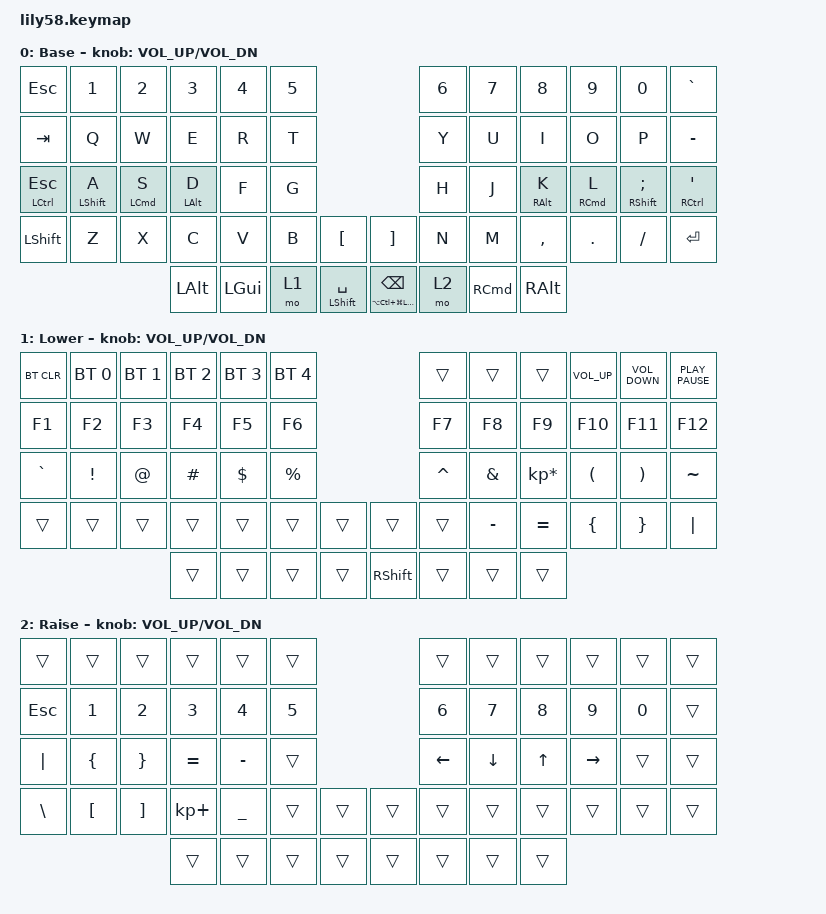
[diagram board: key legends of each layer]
/*
 * Copyright (c) 2020 The ZMK Contributors
 *
 * SPDX-License-Identifier: MIT
 */

#include <behaviors.dtsi>
#include <dt-bindings/zmk/bt.h>
#include <dt-bindings/zmk/keys.h>

&mt { flavor = "tap-preferred"; };

/ {
    keymap {
        compatible = "zmk,keymap";

        default_layer {
            // ------------------------------------------------------------------------------------------------------------
            // |  ESC  |  1  |  2  |  3   |  4   |  5   |                   |  6   |  7    |  8    |  9   |   0   |   `   |
            // |  TAB  |  Q  |  W  |  E   |  R   |  T   |                   |  Y   |  U    |  I    |  O   |   P   |   -   |
            // |  CTRL |  A  |  S  |  D   |  F   |  G   |                   |  H   |  J    |  K    |  L   |   ;   |   '   |
            // | SHIFT |  Z  |  X  |  C   |  V   |  B   |   "["  |  |  "]"  |  N   |  M    |  ,    |  .   |   /   | SHIFT |
            //                     | ALT  | GUI  | LOWER|  SPACE |  | ENTER | RAISE| BSPC  | GUI   |

            display-name = "Base";
            bindings = <
&kp ESC           &kp N1            &kp N2              &kp N3          &kp N4    &kp N5                                                                &kp N6  &kp N7             &kp N8           &kp N9               &kp N0                     &kp GRAVE
&kp TAB           &kp Q             &kp W               &kp E           &kp R     &kp T                                                                 &kp Y   &kp U              &kp I            &kp O                &kp P                      &kp MINUS
&mt LCTRL ESCAPE  &mt LEFT_SHIFT A  &mt LEFT_COMMAND S  &mt LEFT_ALT D  &kp F     &kp G                                                                 &kp H   &kp J              &mt RIGHT_ALT K  &mt RIGHT_COMMAND L  &mt RIGHT_SHIFT SEMICOLON  &mt RIGHT_CONTROL SQT
&kp LSHFT         &kp Z             &kp X               &kp C           &kp V     &kp B   &kp LBKT                &kp RBKT                              &kp N   &kp M              &kp COMMA        &kp DOT              &kp FSLH                   &kp ENTER
                                                        &kp LALT        &kp LGUI  &mo 1   &mt LEFT_SHIFT SPACE    &mt LA(LC(LG(LEFT_SHIFT))) BACKSPACE  &mo 2   &kp RIGHT_COMMAND  &kp RIGHT_ALT
            >;

            sensor-bindings = <&inc_dec_kp C_VOL_UP C_VOL_DN>;
        };

        lower_layer {
            // ------------------------------------------------------------------------------------------------------------
            // | BTCLR | BT1 | BT2 |  BT3 |  BT4 |  BT5 |                   |      |       |       |      |       |       |
            // |  F1   |  F2 |  F3 |  F4  |  F5  |  F6  |                   |  F7  |  F8   |  F9   |  F10 |  F11  |  F12  |
            // |   `   |  !  |  @  |  #   |  $   |  %   |                   |  ^   |  &    |  *    |  (   |   )   |   ~   |
            // |       |     |     |      |      |      |        |  |       |      |  _    |  +    |  {   |   }   |  "|"  |
            //                     |      |      |      |        |  |       |      |       |       |

            display-name = "Lower";
            bindings = <
&bt BT_CLR  &bt BT_SEL 0  &bt BT_SEL 1  &bt BT_SEL 2  &bt BT_SEL 3  &bt BT_SEL 4                             &trans     &trans     &trans           &kp C_VOLUME_UP  &kp C_VOLUME_DOWN  &kp K_PLAY_PAUSE
&kp F1      &kp F2        &kp F3        &kp F4        &kp F5        &kp F6                                   &kp F7     &kp F8     &kp F9           &kp F10          &kp F11            &kp F12
&kp GRAVE   &kp EXCL      &kp AT        &kp HASH      &kp DOLLAR    &kp PRCNT                                &kp CARET  &kp AMPS   &kp KP_MULTIPLY  &kp LPAR         &kp RPAR           &kp TILDE
&trans      &trans        &trans        &trans        &trans        &trans        &trans    &trans           &trans     &kp MINUS  &kp EQUAL        &kp LBRC         &kp RBRC           &kp PIPE
                                        &trans        &trans        &trans        &trans    &kp RIGHT_SHIFT  &trans     &trans     &trans
            >;

            sensor-bindings = <&inc_dec_kp C_VOL_UP C_VOL_DN>;
        };

        raise_layer {
            // ------------------------------------------------------------------------------------------------------------
            // |       |     |     |      |      |      |                   |      |       |       |      |       |       |
            // |   `   |  1  |  2  |  3   |  4   |  5   |                   |  6   |   7   |   8   |  9   |   0   |       |
            // |   F1  |  F2 |  F3 |  F4  |  F5  |  F6  |                   |      |   <-  |   v   |  ^   |  ->   |       |
            // |   F7  |  F8 |  F9 |  F10 |  F11 |  F12 |        |  |       |  +   |   -   |   =   |  [   |   ]   |   \   |
            //                     |      |      |      |        |  |       |      |       |       |

            display-name = "Raise";
            bindings = <
&trans      &trans            &trans             &trans       &trans          &trans                    &trans          &trans    &trans        &trans     &trans  &trans
&kp ESCAPE  &kp N1            &kp N2             &kp N3       &kp N4          &kp N5                    &kp N6          &kp N7    &kp N8        &kp N9     &kp N0  &trans
&kp PIPE    &kp LEFT_BRACE    &kp RIGHT_BRACE    &kp EQUAL    &kp MINUS       &trans                    &kp LEFT_ARROW  &kp DOWN  &kp UP_ARROW  &kp RIGHT  &trans  &trans
&kp BSLH    &kp LEFT_BRACKET  &kp RIGHT_BRACKET  &kp KP_PLUS  &kp UNDERSCORE  &trans  &trans    &trans  &trans          &trans    &trans        &trans     &trans  &trans
                                                 &trans       &trans          &trans  &trans    &trans  &trans          &trans    &trans
            >;

            sensor-bindings = <&inc_dec_kp C_VOL_UP C_VOL_DN>;
        };
    };
};
